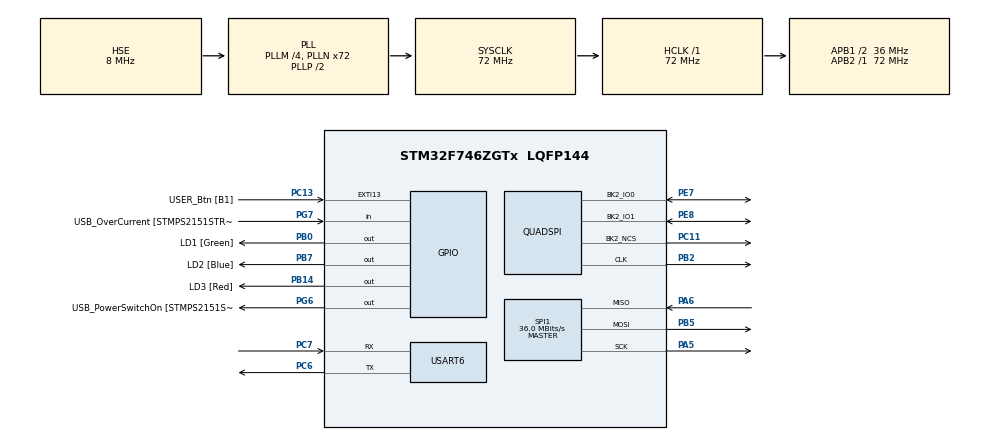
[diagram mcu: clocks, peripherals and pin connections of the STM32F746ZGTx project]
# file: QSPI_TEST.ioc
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Mcu.Family=STM32F7
Mcu.Name=STM32F746ZGTx
Mcu.Package=LQFP144
NVIC.PriorityGroup=NVIC_PRIORITYGROUP_4
NVIC.QUADSPI_IRQn=true\:0\:0\:false\:false\:true\:true\:true
PA1.GPIO_Label=RMII_REF_CLK [LAN8742A-CZ-TR_REFCLK0]
PA1.Signal=ETH_REF_CLK
PA10.GPIO_Label=USB_ID
PA10.Signal=USB_OTG_FS_ID
PA11.GPIO_Label=USB_DM
PA11.Signal=USB_OTG_FS_DM
PA12.GPIO_Label=USB_DP
PA12.Signal=USB_OTG_FS_DP
PA13.GPIO_Label=TMS
PA13.Mode=Serial_Wire
PA13.Signal=SYS_JTMS-SWDIO
PA14.GPIO_Label=TCK
PA14.Mode=Serial_Wire
PA14.Signal=SYS_JTCK-SWCLK
PA2.GPIO_Label=RMII_MDIO [LAN8742A-CZ-TR_MDIO]
PA2.Signal=ETH_MDIO
PA5.Mode=Full_Duplex_Master
PA5.Signal=SPI1_SCK
PA6.Mode=Full_Duplex_Master
PA6.Signal=SPI1_MISO
PA7.GPIO_Label=RMII_CRS_DV [LAN8742A-CZ-TR_CRS_DV]
PA7.Signal=ETH_CRS_DV
PA8.GPIO_Label=USB_SOF [TP1]
PA8.Signal=USB_OTG_FS_SOF
PA9.GPIO_Label=USB_VBUS
PA9.Signal=USB_OTG_FS_VBUS
PB0.GPIO_Label=LD1 [Green]
PB0.Signal=GPIO_Output
PB13.GPIO_Label=RMII_TXD1 [LAN8742A-CZ-TR_TXD1]
PB13.Signal=ETH_TXD1
PB14.GPIO_Label=LD3 [Red]
PB14.Signal=GPIO_Output
PB2.Mode=Single Bank 2 2IOs
PB2.Signal=QUADSPI_CLK
PB3.GPIO_Label=SW0
PB3.Signal=SYS_JTDO-SWO
PB5.Mode=Full_Duplex_Master
PB5.Signal=SPI1_MOSI
PB7.GPIO_Label=LD2 [Blue]
PB7.Signal=GPIO_Output
PC1.GPIO_Label=RMII_MDC [LAN8742A-CZ-TR_MDC]
PC1.Signal=ETH_MDC
PC11.Mode=Single Bank 2 2IOs
PC11.Signal=QUADSPI_BK2_NCS
PC13.GPIO_Label=USER_Btn [B1]
PC13.Signal=GPXTI13
PC14/OSC32_IN.Mode=LSE-External-Oscillator
PC14/OSC32_IN.Signal=RCC_OSC32_IN
PC15/OSC32_OUT.Mode=LSE-External-Oscillator
PC15/OSC32_OUT.Signal=RCC_OSC32_OUT
PC4.GPIO_Label=RMII_RXD0 [LAN8742A-CZ-TR_RXD0]
PC4.Signal=ETH_RXD0
PC5.GPIO_Label=RMII_RXD1 [LAN8742A-CZ-TR_RXD1]
PC5.Signal=ETH_RXD1
PC6.Mode=Asynchronous
PC6.Signal=USART6_TX
PC7.Mode=Asynchronous
PC7.Signal=USART6_RX
PD8.GPIO_Label=STLK_RX [STM32F103CBT6_PA3]
PD8.Signal=USART3_TX
PD9.GPIO_Label=STLK_TX [STM32F103CBT6_PA2]
PD9.Signal=USART3_RX
PE7.Mode=Single Bank 2 2IOs
PE7.Signal=QUADSPI_BK2_IO0
PE8.Mode=Single Bank 2 2IOs
PE8.Signal=QUADSPI_BK2_IO1
PG11.GPIO_Label=RMII_TX_EN [LAN8742A-CZ-TR_TXEN]
PG11.Signal=ETH_TX_EN
PG13.GPIO_Label=RMII_TXD0 [LAN8742A-CZ-TR_TXD0]
PG13.Signal=ETH_TXD0
PG6.GPIO_Label=USB_PowerSwitchOn [STMPS2151STR_EN]
PG6.Signal=GPIO_Output
PG7.GPIO_Label=USB_OverCurrent [STMPS2151STR_FAULT]
PG7.Signal=GPIO_Input
PH0/OSC_IN.GPIO_Label=MCO [STM32F103CBT6_PA8]
PH0/OSC_IN.Mode=HSE-External-Clock-Source
PH0/OSC_IN.Signal=RCC_OSC_IN
PH1/OSC_OUT.Mode=HSE-External-Clock-Source
PH1/OSC_OUT.Signal=RCC_OSC_OUT
ProjectManager.HeapSize=0x200
ProjectManager.StackSize=0x400
ProjectManager.TargetToolchain=SW4STM32
QUADSPI.ClockPrescaler=10
RCC.48MHZClocksFreq_Value=24000000
RCC.AHBFreq_Value=72000000
RCC.APB1CLKDivider=RCC_HCLK_DIV2
RCC.APB1Freq_Value=36000000
RCC.APB1TimFreq_Value=72000000
RCC.APB2Freq_Value=72000000
RCC.APB2TimFreq_Value=72000000
RCC.CortexFreq_Value=72000000
RCC.HCLKFreq_Value=72000000
RCC.HSE_VALUE=8000000
RCC.HSI_VALUE=16000000
RCC.PLLM=4
RCC.PLLMUL=RCC_PLL_MUL9
RCC.PLLN=72
RCC.PLLQ=3
RCC.PLLSourceVirtual=RCC_PLLSOURCE_HSE
RCC.PRESCALERUSB=RCC_USBCLKSOURCE_PLL_DIV1_5
RCC.SYSCLKFreq_VALUE=72000000
RCC.SYSCLKSource=RCC_SYSCLKSOURCE_PLLCLK
RCC.SYSCLKSourceVirtual=RCC_SYSCLKSOURCE_PLLCLK
RCC.USBFreq_Value=48000000
RCC.VCOOutputFreq_Value=144000000
SPI1.CalculateBaudRate=36.0 MBits/s
SPI1.DataSize=SPI_DATASIZE_8BIT
SPI1.Direction=SPI_DIRECTION_2LINES
SPI1.Mode=SPI_MODE_MASTER
SPI1.VirtualType=VM_MASTER
USART6.VirtualMode-Asynchronous=VM_ASYNC
board=NUCLEO-F746ZG

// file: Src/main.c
/* USER CODE BEGIN Header */
/**
  ******************************************************************************
  * @file           : main.c
  * @brief          : Main program body
  ******************************************************************************
  * @attention
  *
  * <h2><center>&copy; Copyright (c) 2019 STMicroelectronics.
  * All rights reserved.</center></h2>
  *
  * This software component is licensed by ST under BSD 3-Clause license,
  * the "License"; You may not use this file except in compliance with the
  * License. You may obtain a copy of the License at:
  *                        opensource.org/licenses/BSD-3-Clause
  *
  ******************************************************************************
  */
/* USER CODE END Header */

#include "main.h"

QSPI_HandleTypeDef hqspi;

SPI_HandleTypeDef hspi1;

UART_HandleTypeDef huart6;

void SystemClock_Config(void);
static void MX_GPIO_Init(void);
static void MX_GFXSIMULATOR_Init(void);
static void MX_QUADSPI_Init(void);
static void MX_USART6_UART_Init(void);
static void MX_SPI1_Init(void);

int main(void)
{

  /* MCU Configuration--------------------------------------------------------*/

  /* Reset of all peripherals, Initializes the Flash interface and the Systick. */
  HAL_Init();

  /* Configure the system clock */
  SystemClock_Config();

  /* Initialize all configured peripherals */
  MX_GPIO_Init();
  MX_GFXSIMULATOR_Init();
  MX_QUADSPI_Init();
  MX_USART6_UART_Init();
  MX_SPI1_Init();
  /* USER CODE BEGIN 2 */
  char buf[3];
  buf[2] = 0x0a;
  buf[1] = 0x0a;
  buf[0] = 0x0a;

  /* USER CODE END 2 */

  /* Infinite loop */
  /* USER CODE BEGIN WHILE */

  /* PE7 (Yellow) -->  IO0*/
  /* PE8 (Red)    -->  IO1*/
  /* PB2 (Green)  -->  CLK*/
  QSPI_CommandTypeDef s_command;
  s_command.InstructionMode   = QSPI_INSTRUCTION_NONE;
  s_command.AddressMode       = QSPI_ADDRESS_NONE;
  s_command.AlternateByteMode = QSPI_ALTERNATE_BYTES_NONE;
  s_command.DataMode          = QSPI_DATA_1_LINE; // QSPI_DATA_4_LINES
  s_command.DummyCycles       = 0;
  s_command.NbData            = 0;
  s_command.DdrMode           = QSPI_DDR_MODE_DISABLE;
  s_command.SIOOMode          = QSPI_SIOO_INST_ONLY_FIRST_CMD;

  if (HAL_QSPI_Command(&hqspi, &s_command, HAL_QPSI_TIMEOUT_DEFAULT_VALUE) != HAL_OK) {
        printf("HAL_ERROR\n");
        return HAL_ERROR;
  }

  while (1)
  {
    /* USER CODE END WHILE */

    /* USER CODE BEGIN 3 */
    if (HAL_QSPI_Command(&hqspi, &s_command, HAL_QPSI_TIMEOUT_DEFAULT_VALUE) != HAL_OK) {
        HAL_GPIO_WritePin(LD2_GPIO_Port, LD2_Pin, GPIO_PIN_SET);
    }
   if(HAL_QSPI_Transmit(&hqspi, (uint8_t *) &buf[0], HAL_MAX_DELAY) != HAL_OK){
    	HAL_GPIO_WritePin(LD3_GPIO_Port, LD3_Pin, GPIO_PIN_SET);
   }

   if(HAL_SPI_Transmit(&hspi1, (uint8_t *) &buf[0], 1, HAL_MAX_DELAY) != HAL_OK){
     HAL_GPIO_WritePin(LD1_GPIO_Port, LD1_Pin, GPIO_PIN_SET);
   }

  }
  /* USER CODE END 3 */
}

void SystemClock_Config(void)
{
  RCC_OscInitTypeDef RCC_OscInitStruct = {0};
  RCC_ClkInitTypeDef RCC_ClkInitStruct = {0};
  RCC_PeriphCLKInitTypeDef PeriphClkInitStruct = {0};

  /** Configure LSE Drive Capability
  */
  HAL_PWR_EnableBkUpAccess();
  /** Configure the main internal regulator output voltage
  */
  __HAL_RCC_PWR_CLK_ENABLE();
  __HAL_PWR_VOLTAGESCALING_CONFIG(PWR_REGULATOR_VOLTAGE_SCALE3);
  /** Initializes the CPU, AHB and APB busses clocks
  */
  RCC_OscInitStruct.OscillatorType = RCC_OSCILLATORTYPE_HSE;
  RCC_OscInitStruct.HSEState = RCC_HSE_BYPASS;
  RCC_OscInitStruct.PLL.PLLState = RCC_PLL_ON;
  RCC_OscInitStruct.PLL.PLLSource = RCC_PLLSOURCE_HSE;
  RCC_OscInitStruct.PLL.PLLM = 4;
  RCC_OscInitStruct.PLL.PLLN = 72;
  RCC_OscInitStruct.PLL.PLLP = RCC_PLLP_DIV2;
  RCC_OscInitStruct.PLL.PLLQ = 3;
  if (HAL_RCC_OscConfig(&RCC_OscInitStruct) != HAL_OK)
  {
    Error_Handler();
  }
  /** Initializes the CPU, AHB and APB busses clocks
  */
  RCC_ClkInitStruct.ClockType = RCC_CLOCKTYPE_HCLK|RCC_CLOCKTYPE_SYSCLK
                              |RCC_CLOCKTYPE_PCLK1|RCC_CLOCKTYPE_PCLK2;
  RCC_ClkInitStruct.SYSCLKSource = RCC_SYSCLKSOURCE_PLLCLK;
  RCC_ClkInitStruct.AHBCLKDivider = RCC_SYSCLK_DIV1;
  RCC_ClkInitStruct.APB1CLKDivider = RCC_HCLK_DIV2;
  RCC_ClkInitStruct.APB2CLKDivider = RCC_HCLK_DIV1;

  if (HAL_RCC_ClockConfig(&RCC_ClkInitStruct, FLASH_LATENCY_2) != HAL_OK)
  {
    Error_Handler();
  }
  PeriphClkInitStruct.PeriphClockSelection = RCC_PERIPHCLK_USART6;
  PeriphClkInitStruct.Usart6ClockSelection = RCC_USART6CLKSOURCE_PCLK2;
  if (HAL_RCCEx_PeriphCLKConfig(&PeriphClkInitStruct) != HAL_OK)
  {
    Error_Handler();
  }
}

static void MX_GFXSIMULATOR_Init(void)
{

}

static void MX_QUADSPI_Init(void)
{

  /* QUADSPI parameter configuration*/
  hqspi.Instance = QUADSPI;
  hqspi.Init.ClockPrescaler = 10;
  hqspi.Init.FifoThreshold = 1;
  hqspi.Init.SampleShifting = QSPI_SAMPLE_SHIFTING_NONE;
  hqspi.Init.FlashSize = 1;
  hqspi.Init.ChipSelectHighTime = QSPI_CS_HIGH_TIME_1_CYCLE;
  hqspi.Init.ClockMode = QSPI_CLOCK_MODE_0;
  hqspi.Init.FlashID = QSPI_FLASH_ID_2;
  hqspi.Init.DualFlash = QSPI_DUALFLASH_DISABLE;
  if (HAL_QSPI_Init(&hqspi) != HAL_OK)
  {
    Error_Handler();
  }

}

static void MX_SPI1_Init(void)
{

  /* SPI1 parameter configuration*/
  hspi1.Instance = SPI1;
  hspi1.Init.Mode = SPI_MODE_MASTER;
  hspi1.Init.Direction = SPI_DIRECTION_2LINES;
  hspi1.Init.DataSize = SPI_DATASIZE_8BIT;
  hspi1.Init.CLKPolarity = SPI_POLARITY_LOW;
  hspi1.Init.CLKPhase = SPI_PHASE_1EDGE;
  hspi1.Init.NSS = SPI_NSS_SOFT;
  hspi1.Init.BaudRatePrescaler = SPI_BAUDRATEPRESCALER_2;
  hspi1.Init.FirstBit = SPI_FIRSTBIT_MSB;
  hspi1.Init.TIMode = SPI_TIMODE_DISABLE;
  hspi1.Init.CRCCalculation = SPI_CRCCALCULATION_DISABLE;
  hspi1.Init.CRCPolynomial = 7;
  hspi1.Init.CRCLength = SPI_CRC_LENGTH_DATASIZE;
  hspi1.Init.NSSPMode = SPI_NSS_PULSE_ENABLE;
  if (HAL_SPI_Init(&hspi1) != HAL_OK)
  {
    Error_Handler();
  }

}

static void MX_USART6_UART_Init(void)
{

  huart6.Instance = USART6;
  huart6.Init.BaudRate = 115200;
  huart6.Init.WordLength = UART_WORDLENGTH_8B;
  huart6.Init.StopBits = UART_STOPBITS_1;
  huart6.Init.Parity = UART_PARITY_NONE;
  huart6.Init.Mode = UART_MODE_TX_RX;
  huart6.Init.HwFlowCtl = UART_HWCONTROL_NONE;
  huart6.Init.OverSampling = UART_OVERSAMPLING_16;
  huart6.Init.OneBitSampling = UART_ONE_BIT_SAMPLE_DISABLE;
  huart6.AdvancedInit.AdvFeatureInit = UART_ADVFEATURE_NO_INIT;
  if (HAL_UART_Init(&huart6) != HAL_OK)
  {
    Error_Handler();
  }

}

static void MX_GPIO_Init(void)
{
  GPIO_InitTypeDef GPIO_InitStruct = {0};

  /* GPIO Ports Clock Enable */
  __HAL_RCC_GPIOC_CLK_ENABLE();
  __HAL_RCC_GPIOH_CLK_ENABLE();
  __HAL_RCC_GPIOA_CLK_ENABLE();
  __HAL_RCC_GPIOB_CLK_ENABLE();
  __HAL_RCC_GPIOE_CLK_ENABLE();
  __HAL_RCC_GPIOD_CLK_ENABLE();
  __HAL_RCC_GPIOG_CLK_ENABLE();

  /*Configure GPIO pin Output Level */
  HAL_GPIO_WritePin(GPIOB, LD1_Pin|LD3_Pin|LD2_Pin, GPIO_PIN_RESET);

  /*Configure GPIO pin Output Level */
  HAL_GPIO_WritePin(USB_PowerSwitchOn_GPIO_Port, USB_PowerSwitchOn_Pin, GPIO_PIN_RESET);

  /*Configure GPIO pin : USER_Btn_Pin */
  GPIO_InitStruct.Pin = USER_Btn_Pin;
  GPIO_InitStruct.Mode = GPIO_MODE_IT_RISING;
  GPIO_InitStruct.Pull = GPIO_NOPULL;
  HAL_GPIO_Init(USER_Btn_GPIO_Port, &GPIO_InitStruct);

  /*Configure GPIO pins : RMII_MDC_Pin RMII_RXD0_Pin RMII_RXD1_Pin */
  GPIO_InitStruct.Pin = RMII_MDC_Pin|RMII_RXD0_Pin|RMII_RXD1_Pin;
  GPIO_InitStruct.Mode = GPIO_MODE_AF_PP;
  GPIO_InitStruct.Pull = GPIO_NOPULL;
  GPIO_InitStruct.Speed = GPIO_SPEED_FREQ_VERY_HIGH;
  GPIO_InitStruct.Alternate = GPIO_AF11_ETH;
  HAL_GPIO_Init(GPIOC, &GPIO_InitStruct);

  /*Configure GPIO pins : RMII_REF_CLK_Pin RMII_MDIO_Pin RMII_CRS_DV_Pin */
  GPIO_InitStruct.Pin = RMII_REF_CLK_Pin|RMII_MDIO_Pin|RMII_CRS_DV_Pin;
  GPIO_InitStruct.Mode = GPIO_MODE_AF_PP;
  GPIO_InitStruct.Pull = GPIO_NOPULL;
  GPIO_InitStruct.Speed = GPIO_SPEED_FREQ_VERY_HIGH;
  GPIO_InitStruct.Alternate = GPIO_AF11_ETH;
  HAL_GPIO_Init(GPIOA, &GPIO_InitStruct);

  /*Configure GPIO pins : LD1_Pin LD3_Pin LD2_Pin */
  GPIO_InitStruct.Pin = LD1_Pin|LD3_Pin|LD2_Pin;
  GPIO_InitStruct.Mode = GPIO_MODE_OUTPUT_PP;
  GPIO_InitStruct.Pull = GPIO_NOPULL;
  GPIO_InitStruct.Speed = GPIO_SPEED_FREQ_LOW;
  HAL_GPIO_Init(GPIOB, &GPIO_InitStruct);

  /*Configure GPIO pin : RMII_TXD1_Pin */
  GPIO_InitStruct.Pin = RMII_TXD1_Pin;
  GPIO_InitStruct.Mode = GPIO_MODE_AF_PP;
  GPIO_InitStruct.Pull = GPIO_NOPULL;
  GPIO_InitStruct.Speed = GPIO_SPEED_FREQ_VERY_HIGH;
  GPIO_InitStruct.Alternate = GPIO_AF11_ETH;
  HAL_GPIO_Init(RMII_TXD1_GPIO_Port, &GPIO_InitStruct);

  /*Configure GPIO pins : STLK_RX_Pin STLK_TX_Pin */
  GPIO_InitStruct.Pin = STLK_RX_Pin|STLK_TX_Pin;
  GPIO_InitStruct.Mode = GPIO_MODE_AF_PP;
  GPIO_InitStruct.Pull = GPIO_NOPULL;
  GPIO_InitStruct.Speed = GPIO_SPEED_FREQ_VERY_HIGH;
  GPIO_InitStruct.Alternate = GPIO_AF7_USART3;
  HAL_GPIO_Init(GPIOD, &GPIO_InitStruct);

  /*Configure GPIO pin : USB_PowerSwitchOn_Pin */
  GPIO_InitStruct.Pin = USB_PowerSwitchOn_Pin;
  GPIO_InitStruct.Mode = GPIO_MODE_OUTPUT_PP;
  GPIO_InitStruct.Pull = GPIO_NOPULL;
  GPIO_InitStruct.Speed = GPIO_SPEED_FREQ_LOW;
  HAL_GPIO_Init(USB_PowerSwitchOn_GPIO_Port, &GPIO_InitStruct);

  /*Configure GPIO pin : USB_OverCurrent_Pin */
  GPIO_InitStruct.Pin = USB_OverCurrent_Pin;
  GPIO_InitStruct.Mode = GPIO_MODE_INPUT;
  GPIO_InitStruct.Pull = GPIO_NOPULL;
  HAL_GPIO_Init(USB_OverCurrent_GPIO_Port, &GPIO_InitStruct);

  /*Configure GPIO pins : USB_SOF_Pin USB_ID_Pin USB_DM_Pin USB_DP_Pin */
  GPIO_InitStruct.Pin = USB_SOF_Pin|USB_ID_Pin|USB_DM_Pin|USB_DP_Pin;
  GPIO_InitStruct.Mode = GPIO_MODE_AF_PP;
  GPIO_InitStruct.Pull = GPIO_NOPULL;
  GPIO_InitStruct.Speed = GPIO_SPEED_FREQ_VERY_HIGH;
  GPIO_InitStruct.Alternate = GPIO_AF10_OTG_FS;
  HAL_GPIO_Init(GPIOA, &GPIO_InitStruct);

  /*Configure GPIO pin : USB_VBUS_Pin */
  GPIO_InitStruct.Pin = USB_VBUS_Pin;
  GPIO_InitStruct.Mode = GPIO_MODE_INPUT;
  GPIO_InitStruct.Pull = GPIO_NOPULL;
  HAL_GPIO_Init(USB_VBUS_GPIO_Port, &GPIO_InitStruct);

  /*Configure GPIO pins : RMII_TX_EN_Pin RMII_TXD0_Pin */
  GPIO_InitStruct.Pin = RMII_TX_EN_Pin|RMII_TXD0_Pin;
  GPIO_InitStruct.Mode = GPIO_MODE_AF_PP;
  GPIO_InitStruct.Pull = GPIO_NOPULL;
  GPIO_InitStruct.Speed = GPIO_SPEED_FREQ_VERY_HIGH;
  GPIO_InitStruct.Alternate = GPIO_AF11_ETH;
  HAL_GPIO_Init(GPIOG, &GPIO_InitStruct);

}

void Error_Handler(void)
{
}

/************************ (C) COPYRIGHT STMicroelectronics *****END OF FILE****/
